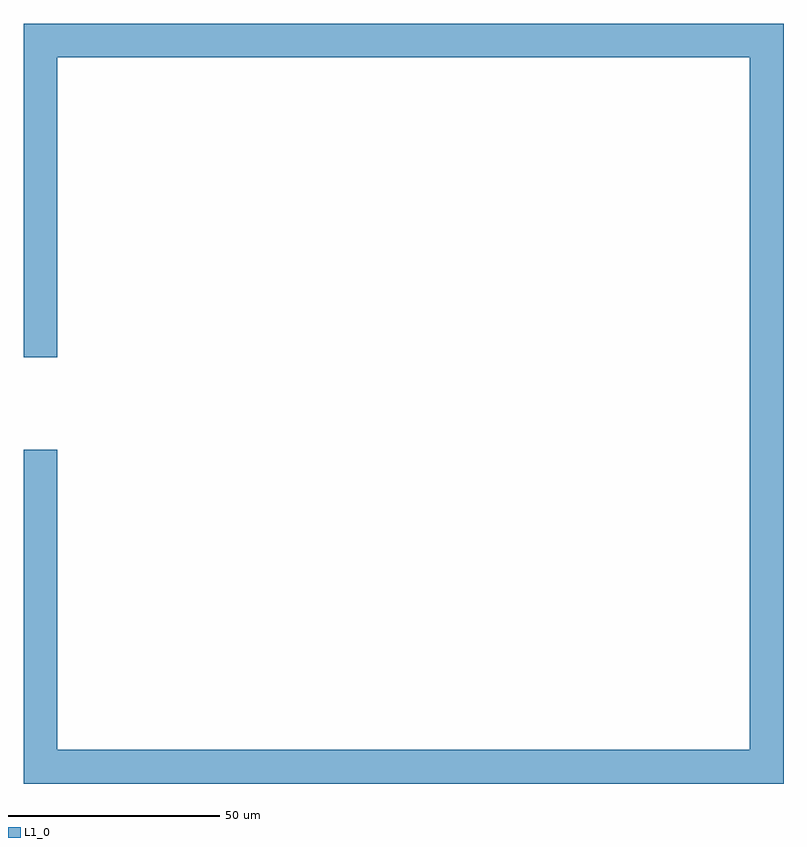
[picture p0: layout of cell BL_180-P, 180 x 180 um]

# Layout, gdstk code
import gdstk
lib = gdstk.Library(unit=1e-6, precision=1e-09)
def R(c, l, rs):  # rectangles x0, y0, x1, y1
    for r in rs: c.add(gdstk.rectangle(r[:2], r[2:], *l))
def P(c, l, *ps):  # polygons
    for p in ps: c.add(gdstk.Polygon(p, *l))
L1_0 = (1, 0)

bl_180_p = lib.new_cell('BL_180-P')
R(bl_180_p, L1_0, [(272,190,280,201), (272,201,280,212)])
P(bl_180_p, L1_0, [(100,212),(100,291),(108,283),(108,212)],
  [(108,283),(100,291),(280,291),(272,283)],
  [(272,212),(272,283),(280,291),(280,212)],
  [(280,111),(272,119),(272,190),(280,190)],
  [(100,111),(108,119),(272,119),(280,111)],
  [(100,111),(100,190),(108,190),(108,119)])

lib.write_gds('BL_180-P.gds')
